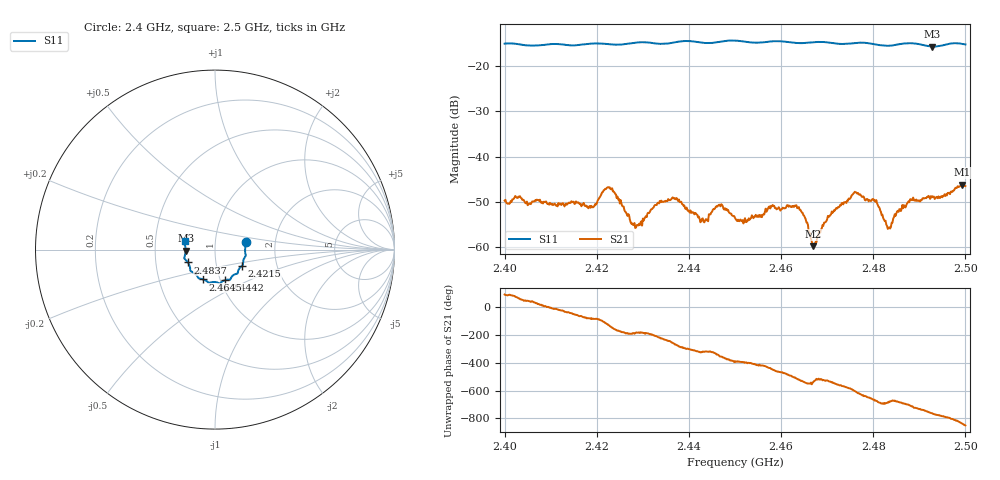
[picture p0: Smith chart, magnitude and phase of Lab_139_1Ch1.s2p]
# Hz S RI R 50
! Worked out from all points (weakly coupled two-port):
!   601 points, 2.4 GHz to 2.5 GHz, reference 50 ohm
!   highest |S21| = -46.16 dB at 2.4993 GHz (marker M1); lowest = -59.7 dB at 2.467 GHz (marker M2)
!   lowest |S11| = -15.7 dB at 2.4928 GHz (marker M3), VSWR 1.39, Z = 36 - j0.379 ohm
!   |S11| at or under -10 dB: start of sweep to end of sweep
!   S12 and S22 are empty: the file has one direction only
!   S11 on the Smith chart (normalised r, x): 2.4 GHz: 1.41, +0.12; 2.4215 GHz: 1.33, -0.25; 2.4442 GHz: 1.05, -0.37; 2.4645 GHz: 0.83, -0.29; 2.4837 GHz: 0.73, -0.11; 2.5 GHz: 0.71, +0.07
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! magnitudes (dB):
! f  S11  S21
! 2.4 GHz  -15.1  -49.7
! 2.4167 GHz  -15.3  -50.9
! 2.4195 GHz  -15.0  -50.8
! 2.4215 GHz  -15.1  -47.4
! 2.4233 GHz  -15.3  -47.0
! 2.4283 GHz  -14.9  -55.7
! 2.4333 GHz  -15.1  -50.2
! 2.437 GHz  -14.8  -49.2
! 2.4442 GHz  -15.0  -54.2
! 2.4468 GHz  -14.7  -51.0
! 2.45 GHz  -14.4  -53.5
! 2.4645 GHz  -15.0  -52.3
! 2.4667 GHz  -14.8  -58.7
! 2.467 GHz  -14.8  -59.7
! 2.4762 GHz  -15.0  -47.9
! 2.4803 GHz  -15.2  -49.6
! 2.4833 GHz  -15.6  -55.7
! 2.4837 GHz  -15.5  -55.8
! 2.4882 GHz  -15.0  -49.4
! 2.4928 GHz  -15.7  -48.8
! 2.4993 GHz  -15.2  -46.2
! 2.5 GHz  -15.3  -46.5
